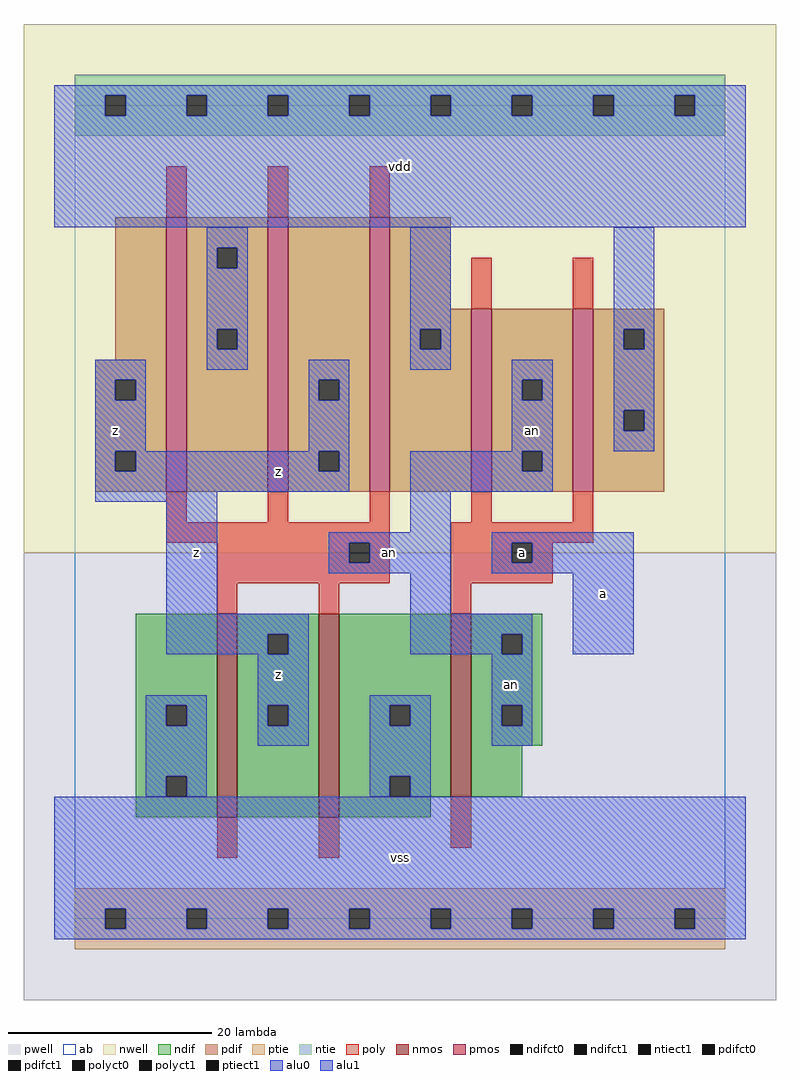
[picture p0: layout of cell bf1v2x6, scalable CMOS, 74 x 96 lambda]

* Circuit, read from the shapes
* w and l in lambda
.subckt bf1v2x6 a an vdd vss z
M1 z an vss vss nfet w=20 l=2 m=2
M2 an a vss vss nfet w=18 l=2
M3 vdd an z vdd pfet w=27 l=2 m=3
M4 an a vdd vdd pfet w=18 l=2 m=2
.ends

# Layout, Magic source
magic
tech scmos
<< ab >>
rect 0 0 64 80
<< nwell >>
rect -5 36 69 88
<< pwell >>
rect -5 -8 69 36
<< poly >>
rect 9 69 11 74
rect 19 69 21 74
rect 29 69 31 74
rect 39 60 41 65
rect 49 60 51 65
rect 9 39 11 42
rect 19 39 21 42
rect 29 39 31 42
rect 39 39 41 42
rect 49 39 51 42
rect 9 37 31 39
rect 14 35 27 37
rect 29 35 31 37
rect 14 33 31 35
rect 37 37 51 39
rect 37 35 43 37
rect 45 35 47 37
rect 37 33 47 35
rect 14 30 16 33
rect 24 30 26 33
rect 37 30 39 33
rect 14 6 16 10
rect 24 6 26 10
rect 37 7 39 12
<< ndif >>
rect 6 21 14 30
rect 6 19 9 21
rect 11 19 14 21
rect 6 14 14 19
rect 6 12 9 14
rect 11 12 14 14
rect 6 10 14 12
rect 16 28 24 30
rect 16 26 19 28
rect 21 26 24 28
rect 16 21 24 26
rect 16 19 19 21
rect 21 19 24 21
rect 16 10 24 19
rect 26 21 37 30
rect 26 19 31 21
rect 33 19 37 21
rect 26 14 37 19
rect 26 12 31 14
rect 33 12 37 14
rect 39 28 46 30
rect 39 26 42 28
rect 44 26 46 28
rect 39 21 46 26
rect 39 19 42 21
rect 44 19 46 21
rect 39 17 46 19
rect 39 12 44 17
rect 26 10 35 12
<< pdif >>
rect 4 55 9 69
rect 2 53 9 55
rect 2 51 4 53
rect 6 51 9 53
rect 2 46 9 51
rect 2 44 4 46
rect 6 44 9 46
rect 2 42 9 44
rect 11 66 19 69
rect 11 64 14 66
rect 16 64 19 66
rect 11 58 19 64
rect 11 56 14 58
rect 16 56 19 58
rect 11 42 19 56
rect 21 53 29 69
rect 21 51 24 53
rect 26 51 29 53
rect 21 46 29 51
rect 21 44 24 46
rect 26 44 29 46
rect 21 42 29 44
rect 31 60 37 69
rect 31 58 39 60
rect 31 56 34 58
rect 36 56 39 58
rect 31 42 39 56
rect 41 53 49 60
rect 41 51 44 53
rect 46 51 49 53
rect 41 46 49 51
rect 41 44 44 46
rect 46 44 49 46
rect 41 42 49 44
rect 51 58 58 60
rect 51 56 54 58
rect 56 56 58 58
rect 51 50 58 56
rect 51 48 54 50
rect 56 48 58 50
rect 51 42 58 48
<< alu1 >>
rect -2 81 66 82
rect -2 79 3 81
rect 5 79 11 81
rect 13 79 19 81
rect 21 79 27 81
rect 29 79 35 81
rect 37 79 43 81
rect 45 79 51 81
rect 53 79 59 81
rect 61 79 66 81
rect -2 68 66 79
rect 2 53 7 55
rect 2 51 4 53
rect 6 51 7 53
rect 2 46 7 51
rect 23 53 27 55
rect 23 51 24 53
rect 26 51 27 53
rect 23 46 27 51
rect 2 44 4 46
rect 6 44 24 46
rect 26 44 27 46
rect 2 42 27 44
rect 2 41 14 42
rect 9 30 14 41
rect 41 37 55 38
rect 41 35 43 37
rect 45 35 55 37
rect 41 34 55 35
rect 9 28 23 30
rect 9 26 19 28
rect 21 26 23 28
rect 49 26 55 34
rect 18 21 23 26
rect 18 19 19 21
rect 21 19 23 21
rect 18 17 23 19
rect -2 1 66 12
rect -2 -1 3 1
rect 5 -1 11 1
rect 13 -1 19 1
rect 21 -1 27 1
rect 29 -1 35 1
rect 37 -1 43 1
rect 45 -1 51 1
rect 53 -1 59 1
rect 61 -1 66 1
rect -2 -2 66 -1
<< ptie >>
rect 0 1 64 3
rect 0 -1 3 1
rect 5 -1 11 1
rect 13 -1 19 1
rect 21 -1 27 1
rect 29 -1 35 1
rect 37 -1 43 1
rect 45 -1 51 1
rect 53 -1 59 1
rect 61 -1 64 1
rect 0 -3 64 -1
<< ntie >>
rect 0 81 64 83
rect 0 79 3 81
rect 5 79 11 81
rect 13 79 19 81
rect 21 79 27 81
rect 29 79 35 81
rect 37 79 43 81
rect 45 79 51 81
rect 53 79 59 81
rect 61 79 64 81
rect 0 77 64 79
<< nmos >>
rect 14 10 16 30
rect 24 10 26 30
rect 37 12 39 30
<< pmos >>
rect 9 42 11 69
rect 19 42 21 69
rect 29 42 31 69
rect 39 42 41 60
rect 49 42 51 60
<< polyct0 >>
rect 27 35 29 37
<< polyct1 >>
rect 43 35 45 37
<< ndifct0 >>
rect 9 19 11 21
rect 9 12 11 14
rect 31 19 33 21
rect 31 12 33 14
rect 42 26 44 28
rect 42 19 44 21
<< ndifct1 >>
rect 19 26 21 28
rect 19 19 21 21
<< ntiect1 >>
rect 3 79 5 81
rect 11 79 13 81
rect 19 79 21 81
rect 27 79 29 81
rect 35 79 37 81
rect 43 79 45 81
rect 51 79 53 81
rect 59 79 61 81
<< ptiect1 >>
rect 3 -1 5 1
rect 11 -1 13 1
rect 19 -1 21 1
rect 27 -1 29 1
rect 35 -1 37 1
rect 43 -1 45 1
rect 51 -1 53 1
rect 59 -1 61 1
<< pdifct0 >>
rect 14 64 16 66
rect 14 56 16 58
rect 34 56 36 58
rect 44 51 46 53
rect 44 44 46 46
rect 54 56 56 58
rect 54 48 56 50
<< pdifct1 >>
rect 4 51 6 53
rect 4 44 6 46
rect 24 51 26 53
rect 24 44 26 46
<< alu0 >>
rect 13 66 17 68
rect 13 64 14 66
rect 16 64 17 66
rect 13 58 17 64
rect 13 56 14 58
rect 16 56 17 58
rect 13 54 17 56
rect 33 58 37 68
rect 33 56 34 58
rect 36 56 37 58
rect 33 54 37 56
rect 53 58 57 68
rect 53 56 54 58
rect 56 56 57 58
rect 43 53 47 55
rect 43 51 44 53
rect 46 51 47 53
rect 43 46 47 51
rect 53 50 57 56
rect 53 48 54 50
rect 56 48 57 50
rect 53 46 57 48
rect 33 44 44 46
rect 46 44 47 46
rect 33 42 47 44
rect 33 38 37 42
rect 25 37 37 38
rect 25 35 27 37
rect 29 35 37 37
rect 25 34 37 35
rect 33 30 37 34
rect 33 28 45 30
rect 33 26 42 28
rect 44 26 45 28
rect 7 21 13 22
rect 7 19 9 21
rect 11 19 13 21
rect 7 14 13 19
rect 29 21 35 22
rect 29 19 31 21
rect 33 19 35 21
rect 7 12 9 14
rect 11 12 13 14
rect 29 14 35 19
rect 41 21 45 26
rect 41 19 42 21
rect 44 19 45 21
rect 41 17 45 19
rect 29 12 31 14
rect 33 12 35 14
<< labels >>
rlabel alu0 43 23 43 23 6 an
rlabel alu0 31 36 31 36 6 an
rlabel alu0 45 48 45 48 6 an
rlabel alu1 12 36 12 36 6 z
rlabel alu1 4 48 4 48 6 z
rlabel alu1 20 24 20 24 6 z
rlabel alu1 20 44 20 44 6 z
rlabel alu1 32 6 32 6 6 vss
rlabel polyct1 44 36 44 36 6 a
rlabel alu1 32 74 32 74 6 vdd
rlabel alu1 52 32 52 32 6 a
<< end >>
